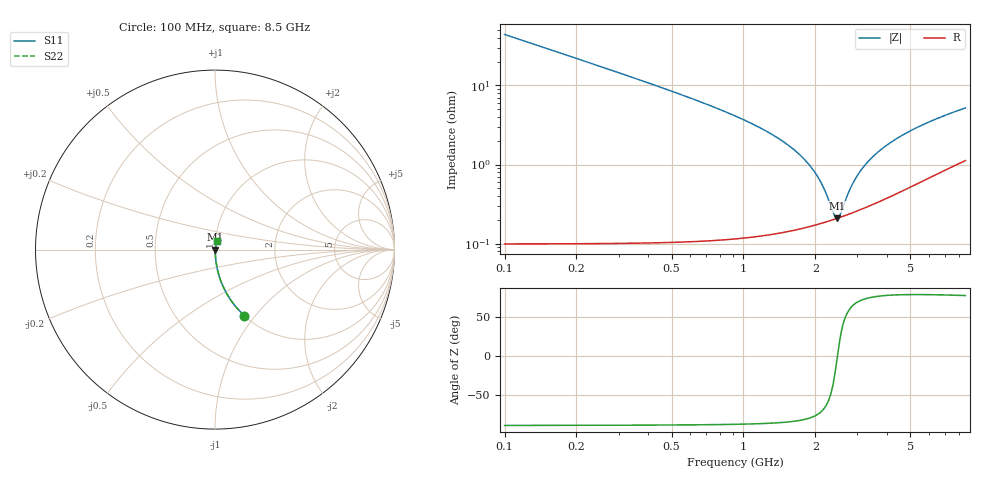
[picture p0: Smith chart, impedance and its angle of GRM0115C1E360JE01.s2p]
!Murata Part Number: GRM0115C1E360JE01
!These Parameters are Measured in Series Mode Connection
!Data Generated on Mar 30, 2021
!  o--ll--o
!Port1  Port2
!  o------o
!Operation Temp=25[degC], DC Bias Voltage=0[V]
!Freq. Start=100[MHz] Stop=9[GHz] 401[Steps]
# Hz S RI R 50
!Freq.(Hz) S11(Real) S11(Imag) S21(Real) S21(Imag) S12(Real) S12(Imag) S22(Real) S22(Imag)
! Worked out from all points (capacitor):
!   401 points, 100 MHz to 8.5 GHz, reference 50 ohm
!   read as one part in series: C = 36 pF near 142 MHz
!   lowest |Z| = 209 mohm at 2.473 GHz (marker M1)
!   series resonance near 2.476 GHz, so ESL is about 110 pH
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1e8  0.1636 -0.3688  0.8364 0.3688  0.8364 0.3688  0.1636 -0.3688
1.84e8  0.0548 -0.2256  0.9452 0.2256  0.9452 0.2256  0.0548 -0.2256
2.89e8  0.0232 -0.1472  0.9768 0.1472  0.9768 0.1472  0.0232 -0.1472
3.94e8  0.0128 -0.1078  0.9872 0.1078  0.9872 0.1078  0.0128 -0.1078
5.2e8  0.00757 -0.0805  0.9924 0.0805  0.9924 0.0805  0.00757 -0.0805
8.35e8  0.0033 -0.0467  0.9967 0.0467  0.9967 0.0467  0.0033 -0.0467
1.507e9  0.00174 -0.0183  0.9983 0.0183  0.9983 0.0183  0.00174 -0.0183
1.78e9  0.00171 -0.0119  0.9983 0.0119  0.9983 0.0119  0.00171 -0.0119
1.99e9  0.00177 -0.00779  0.9982 0.00779  0.9982 0.00779  0.00177 -0.00779
2.179e9  0.00187 -0.00453  0.9981 0.00453  0.9981 0.00453  0.00187 -0.00453
2.389e9  0.00202 -0.00126  0.998 0.00126  0.998 0.00126  0.00202 -0.00126
2.473e9  0.00209 -4.66e-05  0.9979 4.66e-05  0.9979 4.66e-05  0.00209 -4.66e-05
2.536e9  0.00214 0.000839  0.9979 -0.000839  0.9979 -0.000839  0.00214 0.000839
2.746e9  0.00235 0.00364  0.9977 -0.00364  0.9977 -0.00364  0.00235 0.00364
2.914e9  0.00253 0.00573  0.9975 -0.00573  0.9975 -0.00573  0.00253 0.00573
3.145e9  0.00281 0.00843  0.9972 -0.00843  0.9972 -0.00843  0.00281 0.00843
3.46e9  0.00323 0.0119  0.9968 -0.0119  0.9968 -0.0119  0.00323 0.0119
3.838e9  0.00379 0.0157  0.9962 -0.0157  0.9962 -0.0157  0.00379 0.0157
4.3e9  0.00455 0.0199  0.9955 -0.0199  0.9955 -0.0199  0.00455 0.0199
5.707e9  0.00725 0.0314  0.9928 -0.0314  0.9928 -0.0314  0.00725 0.0314
7.114e9  0.0103 0.0411  0.9897 -0.0411  0.9897 -0.0411  0.0103 0.0411
8.5e9  0.0136 0.0495  0.9864 -0.0495  0.9864 -0.0495  0.0136 0.0495
